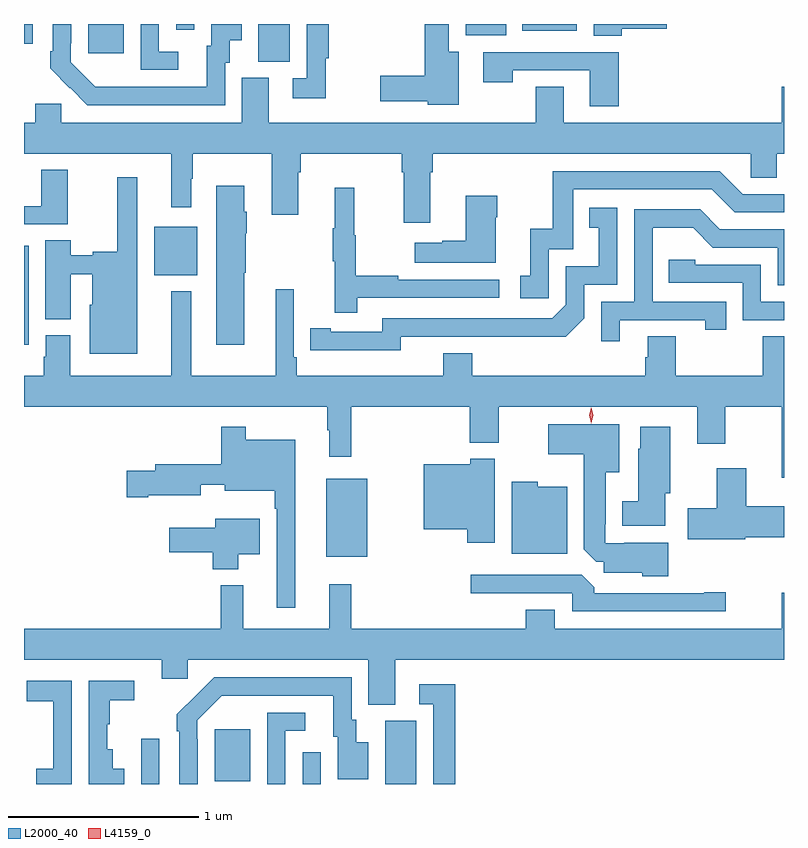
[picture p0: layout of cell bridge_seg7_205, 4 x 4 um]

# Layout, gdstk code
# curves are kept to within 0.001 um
import gdstk
lib = gdstk.Library(unit=1e-6, precision=1e-09)
def R(c, l, rs):  # rectangles x0, y0, x1, y1
    for r in rs: c.add(gdstk.rectangle(r[:2], r[2:], *l))
def P(c, l, *ps):  # polygons
    for p in ps: c.add(gdstk.Polygon(p, *l))
L2000_40 = (2000, 40)
L4159_0 = (4159, 0)

bridge_seg7_205 = lib.new_cell('bridge_seg7_205')
R(bridge_seg7_205, L2000_40, [(125.673,1013.283,125.769,1013.521), (126.522,1013.283,126.618,1013.449), (126.956,1013.283,127.12,1013.616), (126.059,1013.297,126.247,1013.572), (126.647,1014.479,126.862,1014.889), (125.056,1015.596,125.08,1016.116), (125.741,1015.961,125.968,1016.215), (126.29,1017.085,126.454,1017.283), (125.393,1017.129,125.581,1017.283), (125.056,1017.18,125.103,1017.283), (127.382,1017.224,127.594,1017.283), (127.679,1017.248,127.966,1017.283), (125.856,1017.252,125.952,1017.283)])
P(bridge_seg7_205, L2000_40, [(127.345,1017.136),(127.291,1017.136),(127.291,1017.283),(127.166,1017.283),(127.166,1017.011),(126.93,1017.011),(126.93,1016.876),(127.182,1016.876),(127.182,1016.858),(127.345,1016.858)],
  [(128.201,1017.257),(128.44,1017.257),(128.44,1017.283),(128.054,1017.283),(128.054,1017.22),(128.201,1017.22)],
  [(126.114,1017.078),(126.139,1017.078),(126.139,1017.197),(126.202,1017.197),(126.202,1017.283),(126.041,1017.283),(126.041,1017.168),(126.017,1017.168),(126.017,1016.952),(125.43,1016.953),(125.301,1017.081),(125.301,1017.181),(125.304,1017.181),(125.304,1017.283),(125.208,1017.283),(125.208,1017.139),(125.193,1017.139),(125.193,1017.051),(125.39,1016.856),(126.114,1016.856)],
  [(126.644,1017.104),(126.659,1017.104),(126.659,1017.283),(126.543,1017.283),(126.543,1016.997),(126.471,1016.997),(126.471,1016.892),(126.644,1016.892)],
  [(125.869,1017.138),(125.766,1017.138),(125.766,1017.283),(125.67,1017.283),(125.67,1017.042),(125.869,1017.042)],
  [(128.186,1017.135),(127.473,1017.135),(127.473,1016.976),(127.629,1016.976),(127.629,1017.039),(128.033,1017.039),(128.033,1016.85),(128.186,1016.85)],
  [(127.195,1016.504),(127.208,1016.504),(127.208,1016.6),(128.88,1016.6),(128.88,1016.473),(129.019,1016.473),(129.019,1016.6),(129.056,1016.6),(129.056,1016.953),(129.044,1016.953),(129.044,1016.764),(127.897,1016.764),(127.897,1016.954),(127.75,1016.954),(127.75,1016.764),(126.343,1016.764),(126.343,1017),(126.203,1017),(126.203,1016.764),(125.253,1016.764),(125.253,1016.862),(125.114,1016.862),(125.114,1016.764),(125.056,1016.764),(125.056,1016.6),(125.831,1016.6),(125.831,1016.319),(125.935,1016.319),(125.935,1016.468),(125.945,1016.468),(125.945,1016.6),(126.359,1016.6),(126.359,1016.28),(126.499,1016.28),(126.499,1016.504),(126.512,1016.504),(126.512,1016.6),(127.043,1016.6),(127.043,1016.504),(127.055,1016.504),(127.055,1016.238),(127.195,1016.238)],
  [(125.287,1016.515),(125.147,1016.515),(125.147,1016.325),(125.056,1016.325),(125.056,1016.229),(125.287,1016.229)],
  [(127.818,1016.097),(127.947,1016.097),(127.947,1016.412),(128.676,1016.412),(128.796,1016.292),(129.056,1016.292),(129.056,1016.388),(128.838,1016.388),(128.718,1016.508),(127.839,1016.508),(127.839,1016.206),(127.721,1016.206),(127.721,1015.959),(127.668,1015.959),(127.668,1015.839),(127.818,1015.839)],
  [(125.653,1016.476),(125.547,1016.476),(125.547,1016.084),(125.418,1016.084),(125.418,1016.065),(125.302,1016.065),(125.302,1016.144),(125.168,1016.144),(125.168,1015.729),(125.302,1015.729),(125.302,1015.967),(125.414,1015.967),(125.414,1015.806),(125.402,1015.806),(125.402,1015.547),(125.653,1015.547)],
  [(126.214,1015.975),(126.222,1015.975),(126.222,1016.181),(126.229,1016.181),(126.229,1016.295),(126.214,1016.295),(126.214,1016.431),(126.068,1016.431),(126.068,1015.596),(126.214,1015.596)],
  [(126.809,1015.842),(127.558,1015.842),(127.558,1015.938),(127.025,1015.938),(127.025,1015.958),(126.802,1015.958),(126.802,1016.172),(126.794,1016.172),(126.794,1016.422),(126.692,1016.422),(126.692,1016.209),(126.681,1016.209),(126.681,1016.035),(126.692,1016.035),(126.692,1015.764),(126.809,1015.764)],
  [(127.54,1016.267),(127.548,1016.267),(127.548,1016.38),(127.382,1016.38),(127.382,1016.141),(127.256,1016.141),(127.256,1016.131),(127.113,1016.131),(127.113,1016.027),(127.54,1016.027)],
  [(127.038,1015.638),(127.906,1015.637),(128.004,1015.734),(128.004,1015.911),(128.178,1015.911),(128.178,1016.317),(128.032,1016.317),(128.032,1016.211),(128.081,1016.211),(128.081,1016.007),(127.908,1016.007),(127.908,1015.806),(127.836,1015.734),(126.942,1015.734),(126.942,1015.662),(126.67,1015.662),(126.67,1015.682),(126.562,1015.682),(126.562,1015.566),(127.038,1015.565)],
  [(128.191,1015.725),(128.642,1015.725),(128.642,1015.674),(128.753,1015.674),(128.753,1015.821),(128.364,1015.821),(128.364,1016.21),(128.578,1016.21),(128.682,1016.106),(129.024,1016.106),(129.024,1015.908),(129.056,1015.908),(129.056,1016.202),(128.719,1016.202),(128.614,1016.307),(128.268,1016.307),(128.268,1015.821),(128.094,1015.821),(128.094,1015.614),(128.191,1015.614)],
  [(129.056,1015.821),(128.934,1015.821),(128.934,1016.016),(128.589,1016.016),(128.589,1016.043),(128.449,1016.043),(128.449,1015.92),(128.838,1015.92),(128.838,1015.725),(129.056,1015.725)],
  [(129.056,1015.64),(128.944,1015.64),(128.944,1015.432),(128.487,1015.432),(128.487,1015.64),(128.339,1015.64),(128.339,1015.53),(128.327,1015.53),(128.327,1015.432),(127.415,1015.432),(127.415,1015.549),(127.262,1015.549),(127.262,1015.432),(126.491,1015.432),(126.491,1015.528),(126.477,1015.528),(126.477,1015.888),(126.38,1015.888),(126.38,1015.432),(125.935,1015.432),(125.935,1015.876),(125.831,1015.876),(125.831,1015.432),(125.299,1015.432),(125.299,1015.644),(125.171,1015.644),(125.171,1015.533),(125.159,1015.533),(125.159,1015.432),(125.056,1015.432),(125.056,1015.268),(126.651,1015.268),(126.651,1015.145),(126.662,1015.145),(126.662,1015.005),(126.779,1015.005),(126.779,1015.268),(127.403,1015.268),(127.403,1015.079),(127.555,1015.079),(127.555,1015.268),(128.6,1015.268),(128.6,1015.074),(128.748,1015.074),(128.748,1015.268),(129.044,1015.268),(129.044,1014.894),(129.056,1014.894)],
  [(128.446,1014.553),(128.215,1014.553),(128.215,1014.549),(128.115,1014.549),(128.115,1014.649),(128.119,1014.649),(128.119,1014.923),(128.188,1014.923),(128.188,1015.177),(127.815,1015.177),(127.815,1015.019),(128.003,1015.019),(128.003,1014.519),(128.069,1014.453),(128.108,1014.453),(128.108,1014.395),(128.31,1014.395),(128.31,1014.377),(128.446,1014.377)],
  [(128.431,1014.813),(128.458,1014.813),(128.458,1015.162),(128.3,1015.162),(128.3,1015.047),(128.288,1015.047),(128.288,1014.772),(128.204,1014.772),(128.204,1014.641),(128.431,1014.641)],
  [(126.484,1015.096),(126.223,1015.096),(126.223,1015.162),(126.094,1015.162),(126.094,1014.967),(125.747,1014.967),(125.747,1014.933),(125.598,1014.933),(125.598,1014.791),(125.71,1014.791),(125.71,1014.803),(125.986,1014.803),(125.986,1014.857),(126.113,1014.857),(126.113,1014.827),(126.375,1014.827),(126.375,1014.731),(126.387,1014.731),(126.387,1014.21),(126.484,1014.21)],
  [(127.534,1014.994),(127.404,1014.994),(127.404,1014.967),(127.16,1014.967),(127.16,1014.623),(127.388,1014.623),(127.388,1014.552),(127.534,1014.552)],
  [(128.853,1014.581),(129.056,1014.581),(129.056,1014.745),(128.857,1014.745),(128.857,1014.946),(128.702,1014.946),(128.702,1014.735),(128.55,1014.735),(128.55,1014.572),(128.853,1014.572)],
  [(127.915,1014.847),(127.761,1014.847),(127.761,1014.874),(127.622,1014.874),(127.622,1014.494),(127.915,1014.494)],
  [(126.184,1014.491),(126.298,1014.491),(126.298,1014.679),(126.062,1014.679),(126.062,1014.631),(125.82,1014.631),(125.82,1014.502),(126.05,1014.502),(126.05,1014.413),(126.184,1014.413)],
  [(128.749,1014.293),(128.636,1014.293),(128.636,1014.288),(128.057,1014.288),(128.057,1014.319),(127.991,1014.384),(127.407,1014.384),(127.407,1014.288),(127.941,1014.288),(127.941,1014.192),(128.749,1014.192)],
  [(127.009,1013.936),(129.056,1013.936),(129.056,1014.289),(129.044,1014.289),(129.044,1014.1),(127.849,1014.1),(127.849,1014.199),(127.697,1014.199),(127.697,1014.1),(126.779,1014.1),(126.779,1014.334),(126.662,1014.334),(126.662,1014.1),(126.209,1014.1),(126.209,1014.328),(126.091,1014.328),(126.091,1014.1),(125.056,1014.1),(125.056,1013.936),(125.78,1013.936),(125.78,1013.838),(125.919,1013.838),(125.919,1013.936),(126.869,1013.936),(126.869,1013.701),(127.009,1013.701)],
  [(125.97,1013.519),(125.967,1013.519),(125.967,1013.619),(126.096,1013.748),(126.683,1013.748),(126.683,1013.532),(126.707,1013.532),(126.707,1013.307),(126.868,1013.307),(126.868,1013.503),(126.805,1013.503),(126.805,1013.622),(126.78,1013.622),(126.78,1013.844),(126.056,1013.844),(125.859,1013.649),(125.859,1013.561),(125.874,1013.561),(125.874,1013.283),(125.97,1013.283)],
  [(125.584,1013.362),(125.524,1013.362),(125.524,1013.467),(125.495,1013.467),(125.495,1013.598),(125.506,1013.598),(125.506,1013.725),(125.635,1013.725),(125.635,1013.826),(125.397,1013.826),(125.397,1013.358),(125.396,1013.358),(125.396,1013.283),(125.584,1013.283)],
  [(125.307,1013.826),(125.07,1013.826),(125.07,1013.718),(125.21,1013.718),(125.21,1013.362),(125.12,1013.362),(125.12,1013.283),(125.307,1013.283)],
  [(127.325,1013.809),(127.137,1013.809),(127.137,1013.703),(127.209,1013.703),(127.209,1013.283),(127.325,1013.283)],
  [(126.432,1013.562),(126.535,1013.562),(126.535,1013.658),(126.336,1013.658),(126.336,1013.283),(126.432,1013.283)])
P(bridge_seg7_205, L4159_0, [(128.041,1015.182),(128.041,1015.182),(128.031,1015.223),(128.041,1015.264),(128.041,1015.264),(128.041,1015.264),(128.051,1015.223),(128.041,1015.182)])

lib.write_gds('bridge_seg7_205.gds')
